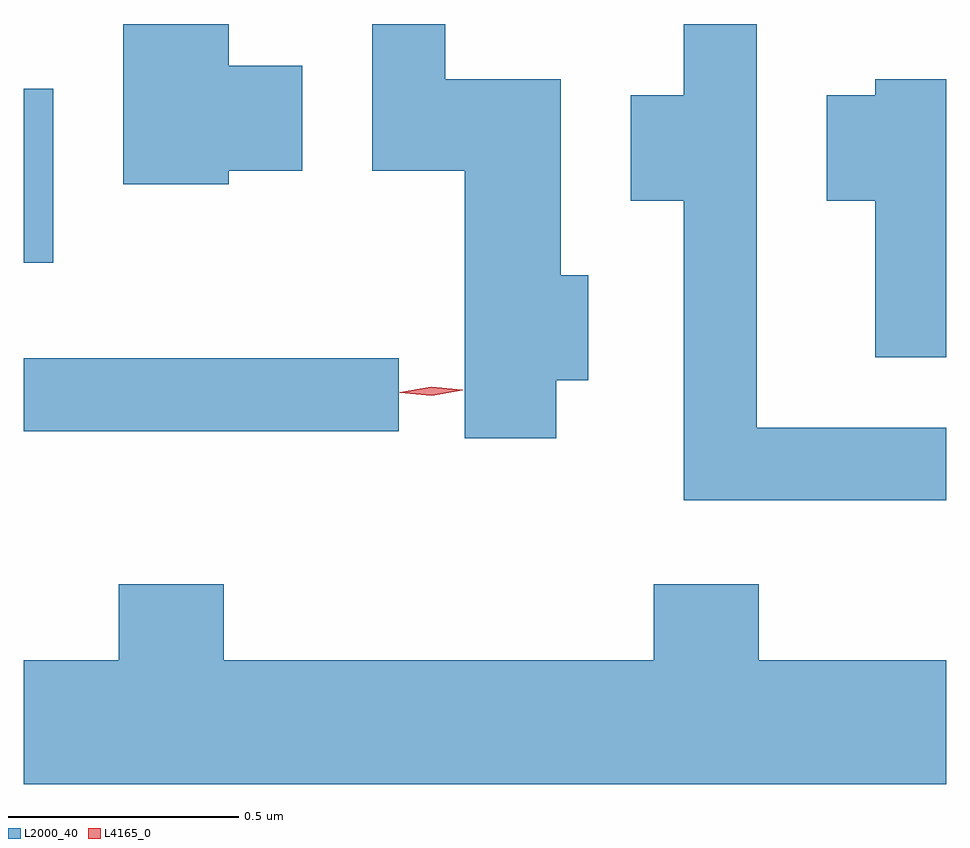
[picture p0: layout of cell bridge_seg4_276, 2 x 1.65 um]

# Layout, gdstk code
import gdstk
lib = gdstk.Library(unit=1e-6, precision=1e-09)
def R(c, l, rs):  # rectangles x0, y0, x1, y1
    for r in rs: c.add(gdstk.rectangle(r[:2], r[2:], *l))
def P(c, l, *ps):  # polygons
    for p in ps: c.add(gdstk.Polygon(p, *l))
L2000_40 = (2000, 40)
L4165_0 = (4165, 0)

bridge_seg4_276 = lib.new_cell('bridge_seg4_276')
R(bridge_seg4_276, L2000_40, [(543.425,1346.561,544.238,1346.719), (543.425,1346.926,543.489,1347.304)])
P(bridge_seg4_276, L2000_40, [(544.579,1346.671),(544.649,1346.671),(544.649,1346.899),(544.589,1346.899),(544.589,1347.324),(544.339,1347.324),(544.339,1347.444),(544.181,1347.444),(544.181,1347.126),(544.381,1347.126),(544.381,1346.546),(544.579,1346.546)],
  [(543.869,1347.126),(544.029,1347.126),(544.029,1347.354),(543.869,1347.354),(543.869,1347.444),(543.641,1347.444),(543.641,1347.096),(543.869,1347.096)],
  [(545.425,1346.569),(545.014,1346.569),(545.014,1347.444),(544.856,1347.444),(544.856,1347.289),(544.741,1347.289),(544.741,1347.061),(544.856,1347.061),(544.856,1346.411),(545.425,1346.411)],
  [(545.425,1347.324),(545.271,1347.324),(545.271,1347.289),(545.166,1347.289),(545.166,1347.061),(545.271,1347.061),(545.271,1346.721),(545.425,1346.721)],
  [(545.425,1346.064),(545.019,1346.064),(545.019,1346.229),(544.791,1346.229),(544.791,1346.064),(543.859,1346.064),(543.859,1346.229),(543.631,1346.229),(543.631,1346.064),(543.425,1346.064),(543.425,1345.796),(545.425,1345.796)])
P(bridge_seg4_276, L4165_0, [(544.309,1346.638),(544.24,1346.644),(544.24,1346.645),(544.24,1346.646),(544.308,1346.657),(544.377,1346.651),(544.377,1346.65),(544.377,1346.65)])

lib.write_gds('bridge_seg4_276.gds')
